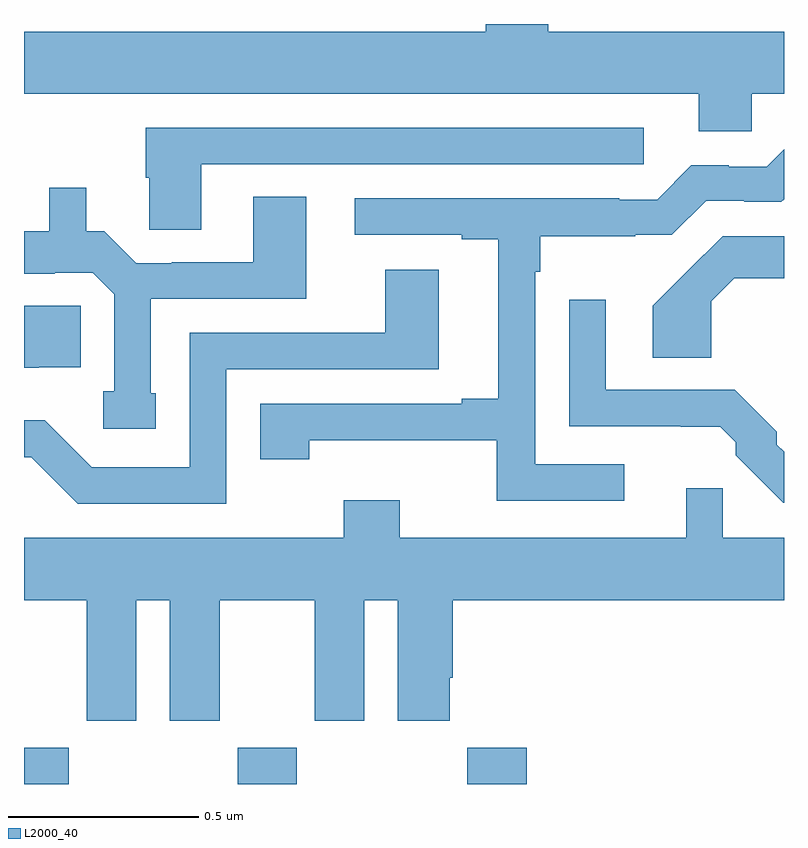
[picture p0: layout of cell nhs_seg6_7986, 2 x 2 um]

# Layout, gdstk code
import gdstk
lib = gdstk.Library(unit=1e-6, precision=1e-09)
def R(c, l, rs):  # rectangles x0, y0, x1, y1
    for r in rs: c.add(gdstk.rectangle(r[:2], r[2:], *l))
def P(c, l, *ps):  # polygons
    for p in ps: c.add(gdstk.Polygon(p, *l))
L2000_40 = (2000, 40)

nhs_seg6_7986 = lib.new_cell('nhs_seg6_7986')
R(nhs_seg6_7986, L2000_40, [(215,965.5,215.118,965.596), (215.563,965.5,215.718,965.596), (216.167,965.5,216.323,965.596)])
P(nhs_seg6_7986, L2000_40, [(216.915,967.316),(217,967.316),(217,967.48),(216.38,967.48),(216.38,967.5),(216.215,967.5),(216.215,967.48),(215,967.48),(215,967.316),(216.776,967.316),(216.776,967.218),(216.915,967.218)],
  [(215.467,967.131),(216.631,967.131),(216.631,967.227),(215.32,967.227),(215.32,967.095),(215.329,967.095),(215.329,966.958),(215.467,966.958)],
  [(216.58,966.342),(216.345,966.342),(216.345,966.848),(216.358,966.848),(216.358,966.942),(216.608,966.942),(216.608,966.945),(216.705,966.945),(216.795,967.035),(216.896,967.035),(216.896,967.032),(216.993,967.032),(217,967.039),(217,967.171),(216.954,967.125),(216.854,967.125),(216.854,967.128),(216.756,967.128),(216.666,967.038),(216.566,967.038),(216.566,967.041),(215.871,967.041),(215.871,966.945),(216.152,966.945),(216.152,966.933),(216.248,966.933),(216.248,966.514),(216.152,966.514),(216.152,966.501),(215.622,966.501),(215.622,966.354),(215.75,966.354),(215.75,966.404),(216.244,966.404),(216.244,966.246),(216.58,966.246)],
  [(215.347,966.528),(215.334,966.528),(215.334,966.777),(215.743,966.777),(215.743,967.046),(215.603,967.046),(215.603,966.873),(215.389,966.873),(215.389,966.87),(215.295,966.87),(215.211,966.954),(215.164,966.954),(215.164,967.069),(215.066,967.069),(215.066,966.954),(215,966.954),(215,966.843),(215.081,966.843),(215.081,966.846),(215.181,966.846),(215.238,966.789),(215.238,966.534),(215.208,966.534),(215.208,966.435),(215.347,966.435)],
  [(216.808,966.77),(216.869,966.831),(217,966.831),(217,966.942),(216.839,966.942),(216.742,966.845),(216.741,966.846),(216.654,966.758),(216.654,966.622),(216.808,966.622)],
  [(215.532,966.591),(216.091,966.591),(216.091,966.853),(215.951,966.853),(215.951,966.687),(215.436,966.687),(215.436,966.333),(215.178,966.333),(215.054,966.457),(215,966.457),(215,966.36),(215.019,966.36),(215.142,966.237),(215.532,966.237)],
  [(217,966.374),(216.981,966.393),(216.981,966.427),(216.871,966.537),(216.531,966.537),(216.531,966.775),(216.435,966.775),(216.435,966.441),(216.728,966.441),(216.728,966.44),(216.832,966.44),(216.873,966.4),(216.873,966.365),(216.998,966.24),(217,966.24)],
  [(215.039,966.597),(215.149,966.597),(215.149,966.758),(215,966.758),(215,966.596),(215.039,966.596)],
  [(215.296,965.984),(215.384,965.984),(215.384,965.667),(215.515,965.667),(215.515,965.984),(215.765,965.984),(215.765,965.667),(215.896,965.667),(215.896,965.984),(215.984,965.984),(215.984,965.667),(216.121,965.667),(216.121,965.779),(216.128,965.779),(216.128,965.984),(217,965.984),(217,966.148),(216.839,966.148),(216.839,966.278),(216.743,966.278),(216.743,966.148),(215.989,966.148),(215.989,966.247),(215.842,966.247),(215.842,966.148),(215,966.148),(215,965.984),(215.165,965.984),(215.165,965.667),(215.296,965.667)])

lib.write_gds('nhs_seg6_7986.gds')
